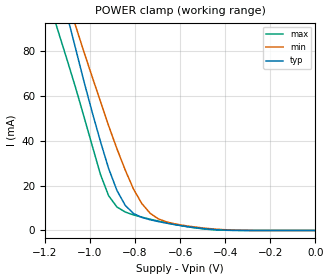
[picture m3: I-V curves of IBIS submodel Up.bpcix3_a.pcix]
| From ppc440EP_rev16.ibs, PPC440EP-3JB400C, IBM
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[Submodel]  Up.bpcix3_a.pcix
Submodel_type   Dynamic_clamp
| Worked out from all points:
|   POWER clamp passes 1 mA (typ) near -0.51 V on its own axis
[POWER Clamp]   | Note: Vtable = Vcc - Vout
| Voltage   I(typ)   I(min)   I(max)
-3.6V     1.093A     876.2mA    962.3mA
-1.173V   124.9mA    125.6mA    99.3mA
-1.137V   110.1mA    114mA      87.62mA
-1.1V     95.49mA    102.6mA    75.72mA
-1.063V   80.98mA    91.15mA    63.54mA
-953mV    39.61mA    57.49mA    24.95mA
-917mV    27.65mA    46.72mA    15.5mA
-880mV    17.83mA    36.41mA    10.46mA
-807mV    7.586mA    18.54mA    6.942mA
-733mV    4.782mA    7.682mA    5.031mA
-623mV    2.597mA    2.946mA    2.654mA
0V        0A         0A         0A
